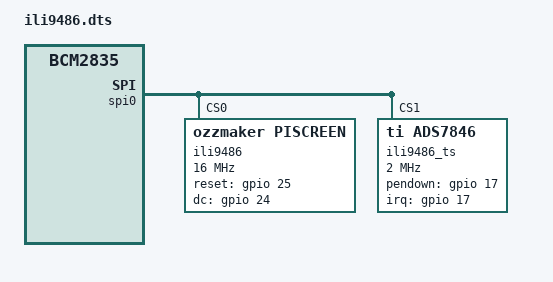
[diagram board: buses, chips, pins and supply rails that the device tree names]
/*
 * Device Tree overlay for MPI3501 based on ili9486 - http://www.lcdwiki.com/3.5inch_RPi_Display
 */

/dts-v1/;
/plugin/;

/ {
	compatible = "brcm,bcm2835";

	fragment@0 {
		target = <&spi0>;
		__overlay__ {
			status = "okay";

			spidev@0{
				status = "disabled";
			};

			spidev@1{
				status = "disabled";
			};
		};
	};

	fragment@1 {
		target = <&gpio>;
		__overlay__ {
			ili9486_pins: ili9486_pins {
				brcm,pins = <17 24 25>;
				brcm,function = <0 1 1>;
			};
		};
	};

	fragment@2 {
		target = <&spi0>;
		__overlay__ {
			/* needed to avoid dtc warning */
			#address-cells = <1>;
			#size-cells = <0>;

			ili9486: ili9486@0{
				compatible = "ozzmaker,piscreen";
				pinctrl-names = "default";
				pinctrl-0 = <&ili9486_pins>;

				reg = <0>;
				spi-max-frequency = <16000000>;

				rotation = <0>;
				reset-gpios = <&gpio 25 0>;
				dc-gpios = <&gpio 24 0>;
			};

			ili9486_ts: ili9486-ts@1 {
				compatible = "ti,ads7846";
				reg = <1>;

				spi-max-frequency = <2000000>;
				interrupts = <17 2>; /* high-to-low edge triggered */
				interrupt-parent = <&gpio>;
				pendown-gpio = <&gpio 17 0>;
				ti,swap-xy;
				ti,x-plate-ohms = /bits/ 16 <100>;
				ti,pressure-max = /bits/ 16 <255>;
			};
		};
	};

	__overrides__ {
		speed =		<&ili9486>,"spi-max-frequency:0";
		rotation =	<&ili9486>,"rotation:0";
		xohms =		<&ili9486_ts>,"ti,x-plate-ohms;0";
	};
};
